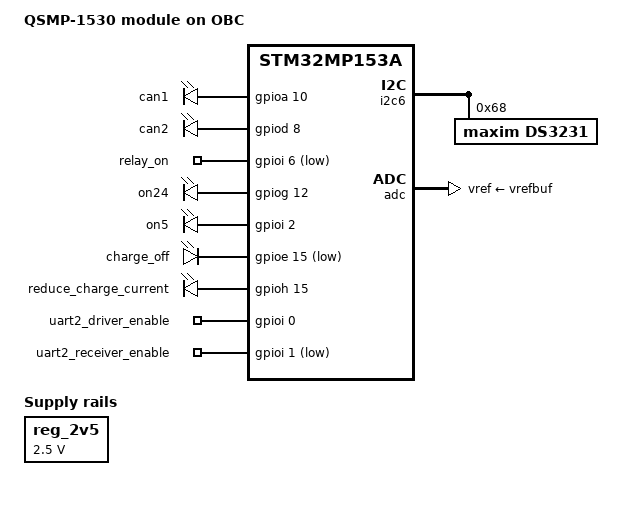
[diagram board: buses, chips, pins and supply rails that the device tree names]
// SPDX-License-Identifier: GPL-2.0 OR BSD-3-Clause
/*
 * Copyright (C) 2022 Roman Blöchliger <roman.bloechliger@schmid-elektronik.ch>
 */

#include "stm32mp153a-qsmp-1530-obc.dtsi"
/ {
	model = "QSMP-1530 module on OBC";
    
	leds {
        compatible = "gpio-leds";

        can1 {
            linux,default-trigger = "none";
            gpios = <&gpioa 10 (GPIO_ACTIVE_HIGH | GPIO_PULL_UP)>; /* Pin 77: CAN1-ON */
            default-state = "off";
        };

        can2 {
            linux,default-trigger = "none";
            gpios = <&gpiod 8 (GPIO_ACTIVE_HIGH | GPIO_PULL_UP)>; /* Pin 76: CAN2-ON */
            default-state = "on";
        };

        relay_on {
            linux,default-trigger = "none";
            default-state = "off";
            gpios = <&gpioi 6 (GPIO_ACTIVE_LOW | GPIO_PULL_DOWN)>; /* Pin 75: !RELAY-ON */
        };

        on24 {
            linux,default-trigger = "none";
            gpios = <&gpiog 12 (GPIO_ACTIVE_HIGH | GPIO_PULL_UP)>; /* Pin 70: +24V-ON */
            default-state = "off";
        };

        on5 {
            linux,default-trigger = "none";
            gpios = <&gpioi 2 (GPIO_ACTIVE_HIGH | GPIO_PULL_UP)>; /* Pin 69: +5V-ON */
            default-state = "off";
        };

        charge_off {
            linux,default-trigger = "none";
            gpios = <&gpioe 15 (GPIO_ACTIVE_LOW | GPIO_PULL_UP)>; /* Pin 63: !CHG_OFF */
            default-state = "off";
        };

        reduce_charge_current {
            linux,default-trigger = "none";
            gpios = <&gpioh 15 (GPIO_ACTIVE_HIGH | GPIO_PULL_UP)>; /* Pin 66: REDCHGCURR */
            default-state = "on";
        };

        uart2_driver_enable {
            linux,default-trigger = "none";
            gpios = <&gpioi 0 (GPIO_ACTIVE_HIGH | GPIO_PULL_UP)>; /* Pin 67: UART2_DE */
            default-state = "off";
        };

        uart2_receiver_enable {
            linux,default-trigger = "none";
            gpios = <&gpioi 1 (GPIO_ACTIVE_LOW | GPIO_PULL_UP)>; /* Pin 68: !UART2_RE */
            default-state = "off";
        };
    };

    reg_2v5: regulator-2v5 {
        compatible = "regulator-fixed";
        regulator-name = "2v5";
        regulator-min-microvolt = <2500000>;
        regulator-max-microvolt = <2500000>;
        regulator-always-on;
    };


};

&i2c6 {
    ds3231: ds3231@68 {
        compatible = "maxim,ds3231";
        reg = <0x68>;
        #clock-cells = <1>;
        status = "okay";
    };
};

// spi pins are used as adc input
&spi6 {
	status = "disabled";
};

&adc {
	vdd-supply = <&reg_3v3>;
	vdda-supply = <&reg_3v3>;
	// "somebody" writes reg_3v3 to vref
	// so set vrefbuf (2.5V)
	vref-supply = <&vrefbuf>;
	status = "okay";
};

&adc2 {
    // ADC2, Channel 3 (PIN 98), Channel 19 (Pin 100)
    st,adc-channels = <3 19>;
    st,min-sample-time-nsecs = <5000>;
};
